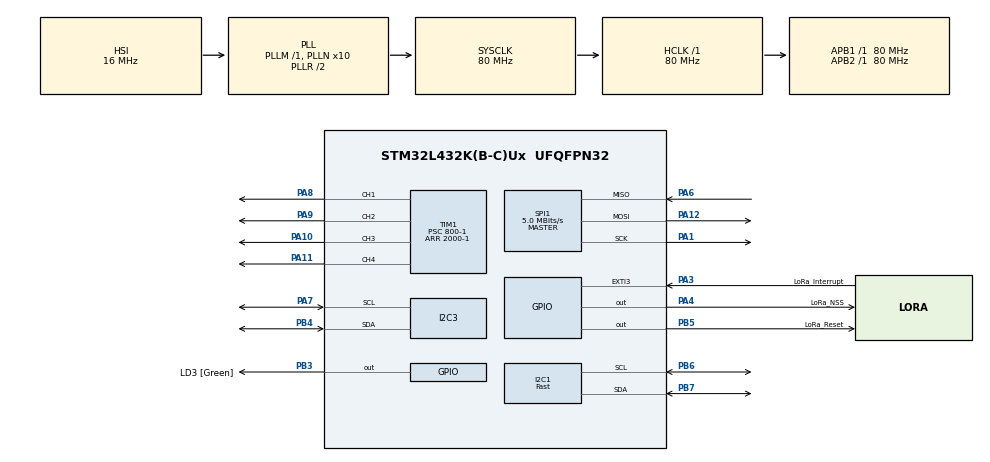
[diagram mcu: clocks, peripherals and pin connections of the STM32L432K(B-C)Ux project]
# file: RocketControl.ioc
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Dma.Request0=SPI1_RX
Dma.Request1=SPI1_TX
Dma.SPI1_RX.0.Direction=DMA_PERIPH_TO_MEMORY
Dma.SPI1_RX.0.Instance=DMA1_Channel2
Dma.SPI1_RX.0.MemDataAlignment=DMA_MDATAALIGN_BYTE
Dma.SPI1_RX.0.MemInc=DMA_MINC_ENABLE
Dma.SPI1_RX.0.Mode=DMA_NORMAL
Dma.SPI1_RX.0.PeriphDataAlignment=DMA_PDATAALIGN_BYTE
Dma.SPI1_RX.0.PeriphInc=DMA_PINC_DISABLE
Dma.SPI1_RX.0.Priority=DMA_PRIORITY_LOW
Dma.SPI1_TX.1.Direction=DMA_MEMORY_TO_PERIPH
Dma.SPI1_TX.1.Instance=DMA1_Channel3
Dma.SPI1_TX.1.MemDataAlignment=DMA_MDATAALIGN_BYTE
Dma.SPI1_TX.1.MemInc=DMA_MINC_ENABLE
Dma.SPI1_TX.1.Mode=DMA_NORMAL
Dma.SPI1_TX.1.PeriphDataAlignment=DMA_PDATAALIGN_BYTE
Dma.SPI1_TX.1.PeriphInc=DMA_PINC_DISABLE
Dma.SPI1_TX.1.Priority=DMA_PRIORITY_LOW
I2C1.I2C_Fall_Time=50
I2C1.I2C_Rise_Time=50
I2C1.I2C_Speed_Mode=I2C_Fast
I2C1.Timing=0x00B02989
I2C3.Timing=0x10909CEC
Mcu.Family=STM32L4
Mcu.Name=STM32L432K(B-C)Ux
Mcu.Package=UFQFPN32
NVIC.DMA1_Channel2_IRQn=true\:0\:0\:false\:false\:true\:false\:true\:true
NVIC.DMA1_Channel3_IRQn=true\:0\:0\:false\:false\:true\:false\:true\:true
NVIC.EXTI3_IRQn=true\:0\:0\:false\:false\:true\:true\:true\:true
NVIC.PriorityGroup=NVIC_PRIORITYGROUP_4
NVIC.TIM1_UP_TIM16_IRQn=true\:0\:0\:false\:false\:true\:true\:true\:true
PA0.GPIO_Label=MCO [High speed clock in]
PA0.Mode=HSE-External-Clock-Source-for-LittleOrca
PA0.Signal=RCC_CK_IN
PA1.Mode=Full_Duplex_Master
PA1.Signal=SPI1_SCK
PA10.Signal=S_TIM1_CH3
PA11.Signal=S_TIM1_CH4
PA12.Mode=Full_Duplex_Master
PA12.Signal=SPI1_MOSI
PA13\ (JTMS-SWDIO).GPIO_Label=SWDIO
PA13\ (JTMS-SWDIO).Mode=Serial_Wire
PA13\ (JTMS-SWDIO).Signal=SYS_JTMS-SWDIO
PA14\ (JTCK-SWCLK).GPIO_Label=SWCLK
PA14\ (JTCK-SWCLK).Mode=Serial_Wire
PA14\ (JTCK-SWCLK).Signal=SYS_JTCK-SWCLK
PA15\ (JTDI).GPIO_Label=VCP_RX
PA15\ (JTDI).Signal=USART2_RX
PA3.GPIO_Label=LoRa_Interrupt
PA3.Signal=GPXTI3
PA4.GPIO_Label=LoRa_NSS
PA4.PinState=GPIO_PIN_SET
PA4.Signal=GPIO_Output
PA6.Mode=Full_Duplex_Master
PA6.Signal=SPI1_MISO
PA7.Mode=I2C
PA7.Signal=I2C3_SCL
PA8.Signal=S_TIM1_CH1
PA9.Signal=S_TIM1_CH2
PB3\ (JTDO-TRACESWO).GPIO_Label=LD3 [Green]
PB3\ (JTDO-TRACESWO).Signal=GPIO_Output
PB4\ (NJTRST).Mode=I2C
PB4\ (NJTRST).Signal=I2C3_SDA
PB5.GPIO_Label=LoRa_Reset
PB5.PinState=GPIO_PIN_SET
PB5.Signal=GPIO_Output
PB6.Mode=I2C
PB6.Signal=I2C1_SCL
PB7.Mode=I2C
PB7.Signal=I2C1_SDA
PC14-OSC32_IN\ (PC14).Mode=LSE-External-Oscillator
PC14-OSC32_IN\ (PC14).Signal=RCC_OSC32_IN
PC15-OSC32_OUT\ (PC15).Mode=LSE-External-Oscillator
PC15-OSC32_OUT\ (PC15).Signal=RCC_OSC32_OUT
ProjectManager.HeapSize=0x100
ProjectManager.StackSize=0x400
ProjectManager.TargetToolchain=STM32CubeIDE
RCC.ADCFreq_Value=192000000
RCC.AHBFreq_Value=80000000
RCC.APB1Freq_Value=80000000
RCC.APB1TimFreq_Value=80000000
RCC.APB2Freq_Value=80000000
RCC.APB2TimFreq_Value=80000000
RCC.CortexFreq_Value=80000000
RCC.HCLKFreq_Value=80000000
RCC.HSE_VALUE=24000000
RCC.HSI16_VALUE=16000000
RCC.HSI48_VALUE=48000000
RCC.HSI_VALUE=16000000
RCC.MSI_VALUE=4000000
RCC.PLLMUL=RCC_PLLMUL_4
RCC.PLLN=10
RCC.PLLSAI1N=24
RCC.PLLSourceVirtual=RCC_PLLSOURCE_HSI
RCC.SYSCLKFreq_VALUE=80000000
RCC.SYSCLKSource=RCC_SYSCLKSOURCE_PLLCLK
RCC.USBFreq_Value=192000000
RCC.VCOOutputFreq_Value=160000000
SH.S_TIM1_CH1.0=TIM1_CH1,PWM Generation1 CH1
SH.S_TIM1_CH2.0=TIM1_CH2,PWM Generation2 CH2
SH.S_TIM1_CH3.0=TIM1_CH3,PWM Generation3 CH3
SH.S_TIM1_CH4.0=TIM1_CH4,PWM Generation4 CH4
SPI1.BaudRatePrescaler=SPI_BAUDRATEPRESCALER_16
SPI1.CalculateBaudRate=5.0 MBits/s
SPI1.DataSize=SPI_DATASIZE_8BIT
SPI1.Direction=SPI_DIRECTION_2LINES
SPI1.Mode=SPI_MODE_MASTER
SPI1.NSSPMode=SPI_NSS_PULSE_DISABLE
SPI1.VirtualType=VM_MASTER
TIM1.Channel-PWM\ Generation1\ CH1=TIM_CHANNEL_1
TIM1.Channel-PWM\ Generation2\ CH2=TIM_CHANNEL_2
TIM1.Channel-PWM\ Generation3\ CH3=TIM_CHANNEL_3
TIM1.Channel-PWM\ Generation4\ CH4=TIM_CHANNEL_4
TIM1.Period=2000-1
TIM1.Prescaler=800-1
TIM16.Period=100-1
TIM16.Prescaler=8000-1
VP_TIM16_VS_ClockSourceINT.Mode=Enable_Timer
VP_TIM1_VS_ClockSourceINT.Mode=Internal
board=NUCLEO-L432KC

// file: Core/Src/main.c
/* USER CODE BEGIN Header */
/**
  ******************************************************************************
  * @file           : main.c
  * @brief          : Main program body
  ******************************************************************************
  * @attention
  *
  * Copyright (c) 2022 STMicroelectronics.
  * All rights reserved.
  *
  * This software is licensed under terms that can be found in the LICENSE file
  * in the root directory of this software component.
  * If no LICENSE file comes with this software, it is provided AS-IS.
  *
  ******************************************************************************
  */
/* USER CODE END Header */
#include "main.h"
#include "dma.h"
#include "i2c.h"
#include "spi.h"
#include "tim.h"
#include "gpio.h"

/* USER CODE BEGIN Includes */
#include "LoRa.h"
#include "bmp280.h"
#include "IMU.h"
#include "servo.h"

/* USER CODE END Includes */

/* USER CODE BEGIN PV */
extern lora_sx1276 LoRa;
extern BMP280_HandleTypedef bmp280;
extern float accelBias[3], gyroBias[3];
/* USER CODE END PV */

void SystemClock_Config(void);

int main(void)
{

  /* MCU Configuration--------------------------------------------------------*/

  /* Reset of all peripherals, Initializes the Flash interface and the Systick. */
  HAL_Init();

  /* Configure the system clock */
  SystemClock_Config();

  /* Initialize all configured peripherals */
  MX_GPIO_Init();
  MX_DMA_Init();
  MX_I2C1_Init();
  MX_TIM1_Init();
  MX_SPI1_Init();
  MX_I2C3_Init();
  MX_TIM16_Init();
  /* USER CODE BEGIN 2 */

  //Servo_Init();

  Check_Peripherals();
  Init_Peripherals();

  Set_LoRa_Connecting(&LoRa);
  calibrateMPU9250(gyroBias, accelBias);
  HAL_TIM_Base_Start_IT(&htim16); // start interrupts after device initialization

  /* USER CODE END 2 */

  /* Infinite loop */
  while (1)
  {

  }
}

void SystemClock_Config(void)
{
  RCC_OscInitTypeDef RCC_OscInitStruct = {0};
  RCC_ClkInitTypeDef RCC_ClkInitStruct = {0};

  /** Configure the main internal regulator output voltage
  */
  if (HAL_PWREx_ControlVoltageScaling(PWR_REGULATOR_VOLTAGE_SCALE1) != HAL_OK)
  {
    Error_Handler();
  }

  /** Initializes the RCC Oscillators according to the specified parameters
  * in the RCC_OscInitTypeDef structure.
  */
  RCC_OscInitStruct.OscillatorType = RCC_OSCILLATORTYPE_HSI;
  RCC_OscInitStruct.HSIState = RCC_HSI_ON;
  RCC_OscInitStruct.HSICalibrationValue = RCC_HSICALIBRATION_DEFAULT;
  RCC_OscInitStruct.PLL.PLLState = RCC_PLL_ON;
  RCC_OscInitStruct.PLL.PLLSource = RCC_PLLSOURCE_HSI;
  RCC_OscInitStruct.PLL.PLLM = 1;
  RCC_OscInitStruct.PLL.PLLN = 10;
  RCC_OscInitStruct.PLL.PLLP = RCC_PLLP_DIV7;
  RCC_OscInitStruct.PLL.PLLQ = RCC_PLLQ_DIV2;
  RCC_OscInitStruct.PLL.PLLR = RCC_PLLR_DIV2;
  if (HAL_RCC_OscConfig(&RCC_OscInitStruct) != HAL_OK)
  {
    Error_Handler();
  }

  /** Initializes the CPU, AHB and APB buses clocks
  */
  RCC_ClkInitStruct.ClockType = RCC_CLOCKTYPE_HCLK|RCC_CLOCKTYPE_SYSCLK
                              |RCC_CLOCKTYPE_PCLK1|RCC_CLOCKTYPE_PCLK2;
  RCC_ClkInitStruct.SYSCLKSource = RCC_SYSCLKSOURCE_PLLCLK;
  RCC_ClkInitStruct.AHBCLKDivider = RCC_SYSCLK_DIV1;
  RCC_ClkInitStruct.APB1CLKDivider = RCC_HCLK_DIV1;
  RCC_ClkInitStruct.APB2CLKDivider = RCC_HCLK_DIV1;

  if (HAL_RCC_ClockConfig(&RCC_ClkInitStruct, FLASH_LATENCY_4) != HAL_OK)
  {
    Error_Handler();
  }
}

/* USER CODE BEGIN 4 */
void HAL_GPIO_EXTI_Callback(uint16_t pin){
	if (pin == LoRa_Interrupt_Pin){
		LoRa_Receive_interrupt_Handler(&LoRa);
	}
}

void HAL_TIM_PeriodElapsedCallback(TIM_HandleTypeDef *htim){
	if (htim == &htim16){
		LoRa_Timer_Interrupt_Handler(&LoRa);
	}
}
/* USER CODE END 4 */

void Error_Handler(void)
{
  /* USER CODE BEGIN Error_Handler_Debug */
  /* User can add his own implementation to report the HAL error return state */
  __disable_irq();
  while (1)
  {
	  HAL_GPIO_WritePin(GPIOB, GPIO_PIN_4, 1);
	  HAL_Delay(1000);
	  HAL_GPIO_WritePin(GPIOB, GPIO_PIN_4, 0);
	  HAL_Delay(1000);

  }
  /* USER CODE END Error_Handler_Debug */
}
